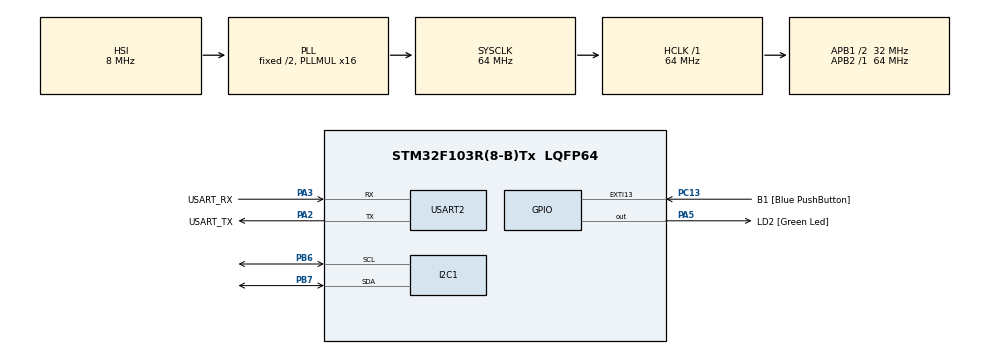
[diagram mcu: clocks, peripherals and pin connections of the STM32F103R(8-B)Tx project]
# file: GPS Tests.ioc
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Mcu.Family=STM32F1
Mcu.Name=STM32F103R(8-B)Tx
Mcu.Package=LQFP64
NVIC.EXTI15_10_IRQn=true\:0\:0\:false\:false\:true\:true\:true\:true
NVIC.I2C1_EV_IRQn=true\:2\:0\:true\:false\:true\:true\:true\:true
NVIC.PriorityGroup=NVIC_PRIORITYGROUP_4
PA13.GPIO_Label=TMS
PA13.Mode=Serial_Wire
PA13.Signal=SYS_JTMS-SWDIO
PA14.GPIO_Label=TCK
PA14.Mode=Serial_Wire
PA14.Signal=SYS_JTCK-SWCLK
PA2.GPIO_Label=USART_TX
PA2.GPIO_Mode=GPIO_MODE_AF_PP
PA2.GPIO_PuPd=GPIO_NOPULL
PA2.GPIO_Speed=GPIO_SPEED_FREQ_LOW
PA2.Mode=Asynchronous
PA2.Signal=USART2_TX
PA3.GPIO_Label=USART_RX
PA3.GPIO_Mode=GPIO_MODE_AF_PP
PA3.GPIO_PuPd=GPIO_NOPULL
PA3.GPIO_Speed=GPIO_SPEED_FREQ_LOW
PA3.Mode=Asynchronous
PA3.Signal=USART2_RX
PA5.GPIO_Label=LD2 [Green Led]
PA5.GPIO_ModeDefaultOutputPP=GPIO_MODE_OUTPUT_PP
PA5.GPIO_PuPd=GPIO_NOPULL
PA5.GPIO_Speed=GPIO_SPEED_FREQ_LOW
PA5.Signal=GPIO_Output
PB3.GPIO_Label=SWO
PB3.Signal=SYS_JTDO-TRACESWO
PB6.Mode=I2C
PB6.Signal=I2C1_SCL
PB7.Mode=I2C
PB7.Signal=I2C1_SDA
PC13-TAMPER-RTC.GPIO_Label=B1 [Blue PushButton]
PC13-TAMPER-RTC.GPIO_PuPd=GPIO_NOPULL
PC13-TAMPER-RTC.Signal=GPXTI13
PC14-OSC32_IN.Mode=LSE-External-Oscillator
PC14-OSC32_IN.Signal=RCC_OSC32_IN
PC15-OSC32_OUT.Mode=LSE-External-Oscillator
PC15-OSC32_OUT.Signal=RCC_OSC32_OUT
PD0-OSC_IN.Mode=HSE-External-Clock-Source
PD0-OSC_IN.Signal=RCC_OSC_IN
PD1-OSC_OUT.Mode=HSE-External-Clock-Source
PD1-OSC_OUT.Signal=RCC_OSC_OUT
ProjectManager.HeapSize=0x200
ProjectManager.StackSize=0x400
ProjectManager.TargetToolchain=STM32CubeIDE
RCC.AHBFreq_Value=64000000
RCC.APB1CLKDivider=RCC_HCLK_DIV2
RCC.APB1Freq_Value=32000000
RCC.APB1TimFreq_Value=64000000
RCC.APB2Freq_Value=64000000
RCC.APB2TimFreq_Value=64000000
RCC.HCLKFreq_Value=64000000
RCC.PLLMUL=RCC_PLL_MUL16
RCC.RTCClockSelection=RCC_RTCCLKSOURCE_LSE
RCC.SYSCLKFreq_VALUE=64000000
RCC.SYSCLKSource=RCC_SYSCLKSOURCE_PLLCLK
RCC.USBFreq_Value=64000000
USART2.VirtualMode=VM_ASYNC
board=NUCLEO-F103RB

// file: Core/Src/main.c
/* USER CODE BEGIN Header */
/**
  ******************************************************************************
  * @file           : main.c
  * @brief          : Main program body
  ******************************************************************************
  * @attention
  *
  * Copyright (c) 2024 STMicroelectronics.
  * All rights reserved.
  *
  * This software is licensed under terms that can be found in the LICENSE file
  * in the root directory of this software component.
  * If no LICENSE file comes with this software, it is provided AS-IS.
  *
  ******************************************************************************
  */
/* USER CODE END Header */
#include "main.h"
#include "i2c.h"
#include "usart.h"
#include "gpio.h"

/* USER CODE BEGIN Includes */
#include <string.h>
#include "gps.h"
/* USER CODE END Includes */

/* USER CODE BEGIN PV */
bool g_gps_read_okay = false;
/* USER CODE END PV */

void SystemClock_Config(void);

/* USER CODE BEGIN 0 */

/**
  * @brief  Master Rx Transfer completed callback.
  * @param  hi2c Pointer to a I2C_HandleTypeDef structure that contains
  *                the configuration information for the specified I2C.
  * @retval None
  */
void HAL_I2C_MasterRxCpltCallback(I2C_HandleTypeDef *hi2c)
{
  /* Prevent unused argument(s) compilation warning */
  if(hi2c->Instance == I2C1)
  {
    g_gps_read_okay = true;
  }
}

/* USER CODE END 0 */

int main(void)
{

  /* MCU Configuration--------------------------------------------------------*/

  /* Reset of all peripherals, Initializes the Flash interface and the Systick. */
  HAL_Init();

  /* Configure the system clock */
  SystemClock_Config();

  /* Initialize all configured peripherals */
  MX_GPIO_Init();
  MX_USART2_UART_Init();
  MX_I2C1_Init();

  /* Infinite loop */
  while (1)
  {

    /* USER CODE BEGIN 3 */

    HAL_Delay(500);

    uint8_t msg[20] = "New GPS read\r\n\n";
    HAL_UART_Transmit(&huart2, msg, 20, 100);

    uint8_t data[GPS_MESSAGE_LEN];
    memset(data, 0, GPS_MESSAGE_LEN);

    read_i2c_gps_module(data);

    HAL_Delay(500);

    // If the GPS read was successful, print the data
    if(g_gps_read_okay)
    {
      HAL_UART_Transmit(&huart2, data, GPS_MESSAGE_LEN, 100);
      g_gps_read_okay = false;
    }
    else
    {
      strncpy(data, "GPS not connected\r\n", GPS_MESSAGE_LEN);
      HAL_UART_Transmit(&huart2, data, GPS_MESSAGE_LEN, 100);
    }

    HAL_GPIO_TogglePin(LD2_GPIO_Port, LD2_Pin);
  }
  /* USER CODE END 3 */
}

void SystemClock_Config(void)
{
  RCC_OscInitTypeDef RCC_OscInitStruct = {0};
  RCC_ClkInitTypeDef RCC_ClkInitStruct = {0};

  /** Initializes the RCC Oscillators according to the specified parameters
  * in the RCC_OscInitTypeDef structure.
  */
  RCC_OscInitStruct.OscillatorType = RCC_OSCILLATORTYPE_HSI;
  RCC_OscInitStruct.HSIState = RCC_HSI_ON;
  RCC_OscInitStruct.HSICalibrationValue = RCC_HSICALIBRATION_DEFAULT;
  RCC_OscInitStruct.PLL.PLLState = RCC_PLL_ON;
  RCC_OscInitStruct.PLL.PLLSource = RCC_PLLSOURCE_HSI_DIV2;
  RCC_OscInitStruct.PLL.PLLMUL = RCC_PLL_MUL16;
  if (HAL_RCC_OscConfig(&RCC_OscInitStruct) != HAL_OK)
  {
    Error_Handler();
  }

  /** Initializes the CPU, AHB and APB buses clocks
  */
  RCC_ClkInitStruct.ClockType = RCC_CLOCKTYPE_HCLK|RCC_CLOCKTYPE_SYSCLK
                              |RCC_CLOCKTYPE_PCLK1|RCC_CLOCKTYPE_PCLK2;
  RCC_ClkInitStruct.SYSCLKSource = RCC_SYSCLKSOURCE_PLLCLK;
  RCC_ClkInitStruct.AHBCLKDivider = RCC_SYSCLK_DIV1;
  RCC_ClkInitStruct.APB1CLKDivider = RCC_HCLK_DIV2;
  RCC_ClkInitStruct.APB2CLKDivider = RCC_HCLK_DIV1;

  if (HAL_RCC_ClockConfig(&RCC_ClkInitStruct, FLASH_LATENCY_2) != HAL_OK)
  {
    Error_Handler();
  }
}

void Error_Handler(void)
{
  __disable_irq();
  while (1)
  {
  }
}
